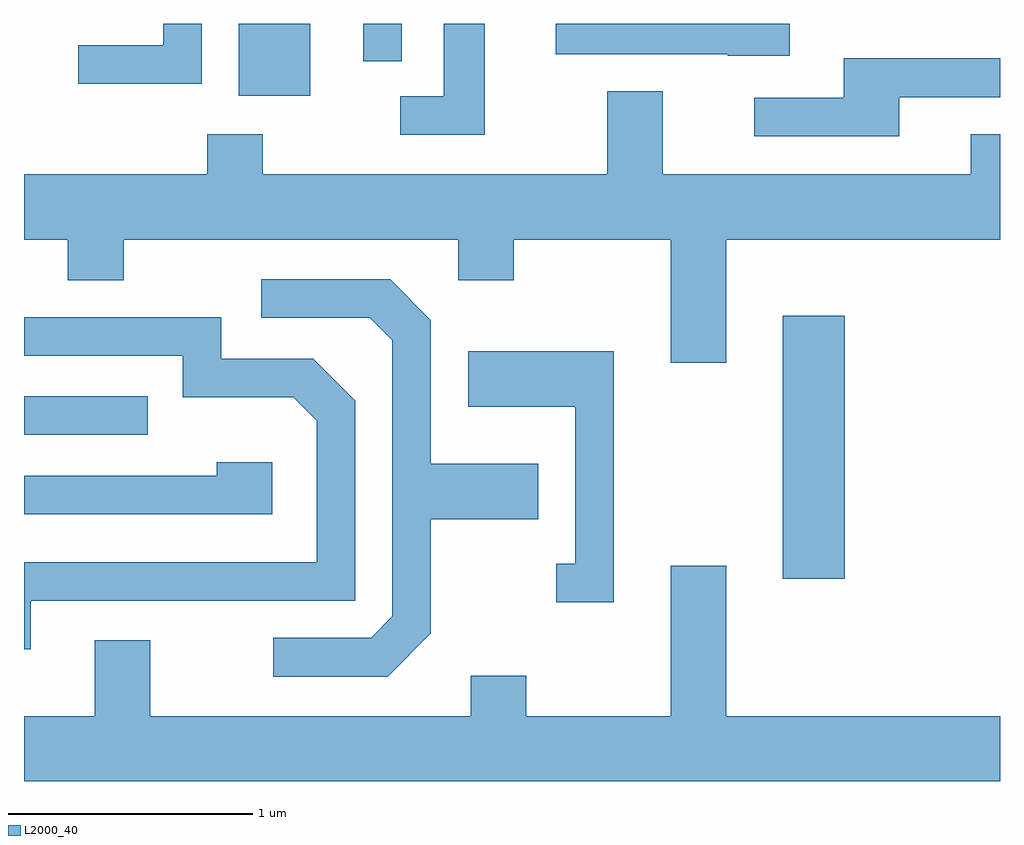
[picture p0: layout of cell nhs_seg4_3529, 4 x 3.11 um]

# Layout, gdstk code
import gdstk
lib = gdstk.Library(unit=1e-6, precision=1e-09)
def R(c, l, rs):  # rectangles x0, y0, x1, y1
    for r in rs: c.add(gdstk.rectangle(r[:2], r[2:], *l))
def P(c, l, *ps):  # polygons
    for p in ps: c.add(gdstk.Polygon(p, *l))
L2000_40 = (2000, 40)

nhs_seg4_3529 = lib.new_cell('nhs_seg4_3529')
R(nhs_seg4_3529, L2000_40, [(290.721,1377.706,290.974,1378.784), (287.611,1378.296,288.118,1378.454), (288.491,1379.686,288.784,1379.982), (289.001,1379.828,289.159,1379.982)])
P(nhs_seg4_3529, L2000_40, [(288.339,1379.982),(288.181,1379.982),(288.181,1379.894),(287.833,1379.894),(287.833,1379.736),(288.339,1379.736)],
  [(290.749,1379.982),(289.791,1379.982),(289.791,1379.856),(290.495,1379.856),(290.495,1379.851),(290.749,1379.851)],
  [(289.499,1379.982),(289.331,1379.982),(289.331,1379.684),(289.153,1379.684),(289.153,1379.526),(289.499,1379.526)],
  [(291.199,1379.681),(291.611,1379.681),(291.611,1379.839),(290.971,1379.839),(290.971,1379.679),(290.603,1379.679),(290.603,1379.521),(291.199,1379.521)],
  [(290.489,1379.096),(291.611,1379.096),(291.611,1379.529),(291.491,1379.529),(291.491,1379.364),(290.229,1379.364),(290.229,1379.704),(290.001,1379.704),(290.001,1379.364),(288.589,1379.364),(288.589,1379.529),(288.361,1379.529),(288.361,1379.364),(287.611,1379.364),(287.611,1379.096),(287.791,1379.096),(287.791,1378.931),(288.019,1378.931),(288.019,1379.096),(289.391,1379.096),(289.391,1378.931),(289.619,1378.931),(289.619,1379.096),(290.261,1379.096),(290.261,1378.591),(290.489,1378.591)],
  [(289.279,1377.484),(289.279,1377.951),(289.719,1377.951),(289.719,1378.179),(289.279,1378.179),(289.279,1378.767),(289.112,1378.934),(288.583,1378.934),(288.583,1378.776),(289.029,1378.776),(289.121,1378.684),(289.121,1377.552),(289.034,1377.464),(288.633,1377.464),(288.633,1377.306),(289.102,1377.306)],
  [(287.639,1377.616),(288.969,1377.616),(288.969,1378.437),(288.797,1378.609),(288.419,1378.609),(288.419,1378.779),(287.611,1378.779),(287.611,1378.621),(288.261,1378.621),(288.261,1378.451),(288.714,1378.451),(288.811,1378.354),(288.811,1377.774),(287.611,1377.774),(287.611,1377.418),(287.639,1377.418)],
  [(290.029,1378.639),(289.431,1378.639),(289.431,1378.411),(289.871,1378.411),(289.871,1377.769),(289.793,1377.769),(289.793,1377.611),(290.029,1377.611)],
  [(288.629,1378.184),(288.401,1378.184),(288.401,1378.129),(287.611,1378.129),(287.611,1377.971),(288.629,1377.971)],
  [(291.611,1377.144),(290.489,1377.144),(290.489,1377.759),(290.261,1377.759),(290.261,1377.144),(289.669,1377.144),(289.669,1377.309),(289.441,1377.309),(289.441,1377.144),(288.129,1377.144),(288.129,1377.454),(287.901,1377.454),(287.901,1377.144),(287.611,1377.144),(287.611,1376.876),(291.611,1376.876)])

lib.write_gds('nhs_seg4_3529.gds')
